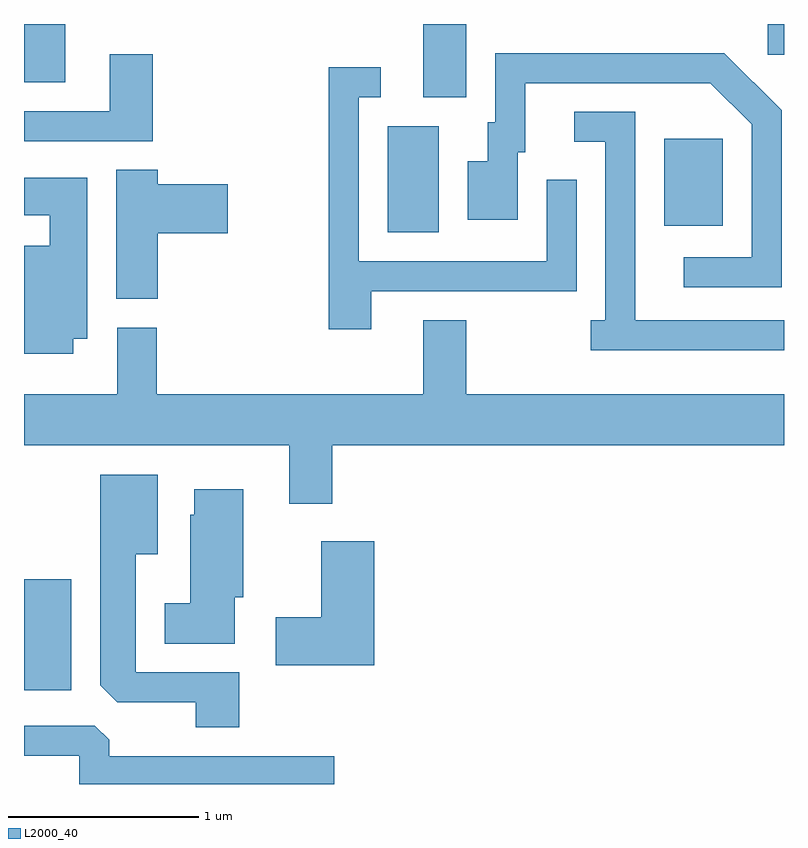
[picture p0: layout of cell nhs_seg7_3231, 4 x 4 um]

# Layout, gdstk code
import gdstk
lib = gdstk.Library(unit=1e-6, precision=1e-09)
def R(c, l, rs):  # rectangles x0, y0, x1, y1
    for r in rs: c.add(gdstk.rectangle(r[:2], r[2:], *l))
def P(c, l, *ps):  # polygons
    for p in ps: c.add(gdstk.Polygon(p, *l))
L2000_40 = (2000, 40)

nhs_seg7_3231 = lib.new_cell('nhs_seg7_3231')
R(nhs_seg7_3231, L2000_40, [(283.611,1770.746,283.859,1771.329), (285.526,1773.156,285.794,1773.714), (286.981,1773.191,287.289,1773.649), (285.711,1773.866,285.939,1774.252), (283.611,1773.946,283.829,1774.252), (287.526,1774.091,287.611,1774.252)])
P(nhs_seg7_3231, L2000_40, [(287.599,1773.797),(287.297,1774.099),(286.091,1774.099),(286.091,1773.734),(286.051,1773.734),(286.051,1773.529),(285.946,1773.529),(285.946,1773.221),(286.209,1773.221),(286.209,1773.576),(286.249,1773.576),(286.249,1773.941),(287.224,1773.941),(287.441,1773.724),(287.441,1773.024),(287.083,1773.024),(287.083,1772.866),(287.599,1772.866)],
  [(284.289,1774.094),(284.061,1774.094),(284.061,1773.794),(283.611,1773.794),(283.611,1773.636),(284.289,1773.636)],
  [(285.439,1772.846),(286.519,1772.846),(286.519,1773.433),(286.361,1773.433),(286.361,1773.004),(285.374,1773.004),(285.374,1773.866),(285.488,1773.866),(285.488,1774.024),(285.216,1774.024),(285.216,1772.646),(285.439,1772.646)],
  [(287.611,1772.694),(286.829,1772.694),(286.829,1773.789),(286.508,1773.789),(286.508,1773.631),(286.671,1773.631),(286.671,1772.694),(286.593,1772.694),(286.593,1772.536),(287.611,1772.536)],
  [(284.314,1773.151),(284.684,1773.151),(284.684,1773.409),(284.314,1773.409),(284.314,1773.484),(284.096,1773.484),(284.096,1772.806),(284.314,1772.806)],
  [(283.869,1772.596),(283.944,1772.596),(283.944,1773.444),(283.611,1773.444),(283.611,1773.246),(283.746,1773.246),(283.746,1773.084),(283.611,1773.084),(283.611,1772.516),(283.869,1772.516)],
  [(285.006,1771.726),(285.234,1771.726),(285.234,1772.036),(287.611,1772.036),(287.611,1772.304),(285.939,1772.304),(285.939,1772.694),(285.711,1772.694),(285.711,1772.304),(284.309,1772.304),(284.309,1772.654),(284.101,1772.654),(284.101,1772.304),(283.611,1772.304),(283.611,1772.036),(285.006,1772.036)],
  [(284.744,1770.839),(284.199,1770.839),(284.199,1771.461),(284.314,1771.461),(284.314,1771.879),(284.011,1771.879),(284.011,1770.772),(284.102,1770.681),(284.516,1770.681),(284.516,1770.551),(284.744,1770.551)],
  [(284.719,1771.236),(284.764,1771.236),(284.764,1771.804),(284.506,1771.804),(284.506,1771.669),(284.486,1771.669),(284.486,1771.204),(284.351,1771.204),(284.351,1770.991),(284.719,1770.991)],
  [(285.454,1771.529),(285.176,1771.529),(285.176,1771.129),(284.936,1771.129),(284.936,1770.876),(285.454,1770.876)],
  [(285.243,1770.399),(284.059,1770.399),(284.059,1770.484),(283.984,1770.559),(283.611,1770.559),(283.611,1770.401),(283.901,1770.401),(283.901,1770.252),(285.243,1770.252)])

lib.write_gds('nhs_seg7_3231.gds')
